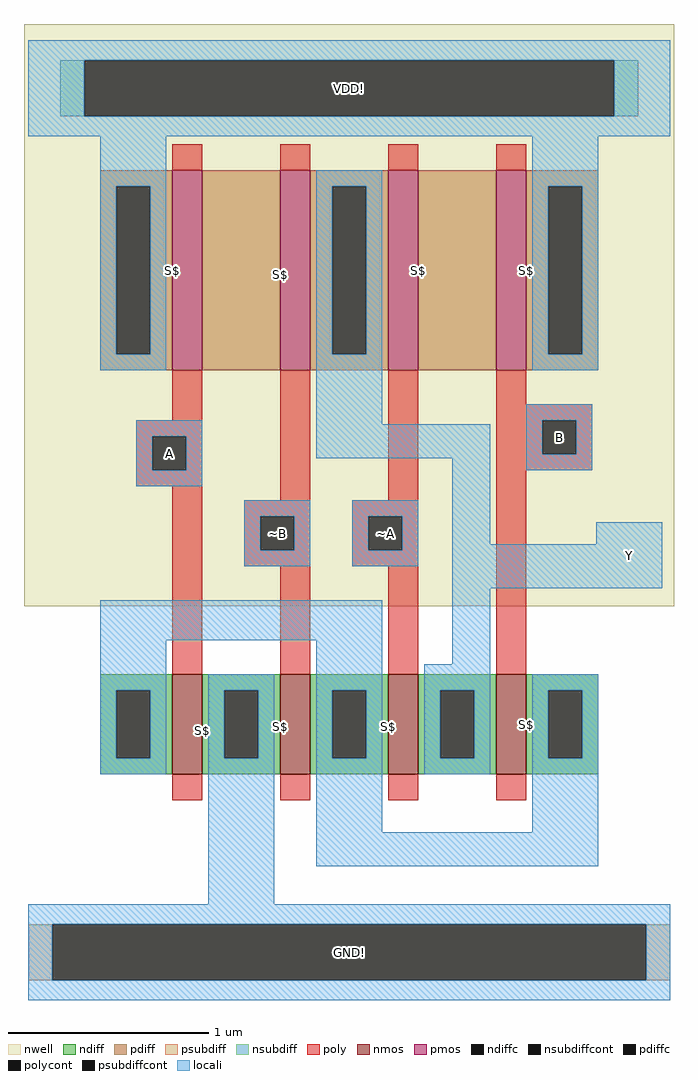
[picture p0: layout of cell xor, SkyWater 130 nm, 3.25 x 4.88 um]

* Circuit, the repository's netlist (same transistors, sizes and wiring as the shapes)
* NGSPICE file created from xor.ext - technology: sky130A

*.subckt xor VDD GND Y A ~B ~A B
X0 GND A a_72_226# GND sky130_fd_pr__nfet_01v8 ad=0.0975 pd=0.89 as=0.18 ps=1.72 w=0.5 l=0.15
X1 a_72_226# ~B GND GND sky130_fd_pr__nfet_01v8 ad=0.0975 pd=0.89 as=0.0975 ps=0.89 w=0.5 l=0.15
X2 Y ~A a_72_226# GND sky130_fd_pr__nfet_01v8 ad=0.0975 pd=0.89 as=0.0975 ps=0.89 w=0.5 l=0.15
X3 a_174_630# A VDD VDD sky130_fd_pr__pfet_01v8 ad=0.195 pd=1.39 as=0.36 ps=2.72 w=1 l=0.15
X4 Y ~B a_174_630# VDD sky130_fd_pr__pfet_01v8 ad=0.195 pd=1.39 as=0.195 ps=1.39 w=1 l=0.15
X5 a_72_226# B Y GND sky130_fd_pr__nfet_01v8 ad=0.18 pd=1.72 as=0.0975 ps=0.89 w=0.5 l=0.15
X6 a_390_630# ~A Y VDD sky130_fd_pr__pfet_01v8 ad=0.195 pd=1.39 as=0.195 ps=1.39 w=1 l=0.15
X7 VDD B a_390_630# VDD sky130_fd_pr__pfet_01v8 ad=0.36 pd=2.72 as=0.195 ps=1.39 w=1 l=0.15
*.ends

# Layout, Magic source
magic
tech sky130A
<< nwell >>
rect -2 197 323 488
<< nmos >>
rect 72 113 87 163
rect 126 113 141 163
rect 180 113 195 163
rect 234 113 249 163
<< pmos >>
rect 72 315 87 415
rect 126 315 141 415
rect 180 315 195 415
rect 234 315 249 415
<< ndiff >>
rect 36 155 72 163
rect 36 121 44 155
rect 61 121 72 155
rect 36 113 72 121
rect 87 155 126 163
rect 87 121 98 155
rect 115 121 126 155
rect 87 113 126 121
rect 141 155 180 163
rect 141 121 152 155
rect 169 121 180 155
rect 141 113 180 121
rect 195 155 234 163
rect 195 121 206 155
rect 223 121 234 155
rect 195 113 234 121
rect 249 155 285 163
rect 249 121 260 155
rect 277 121 285 155
rect 249 113 285 121
<< pdiff >>
rect 36 407 72 415
rect 36 323 44 407
rect 61 323 72 407
rect 36 315 72 323
rect 87 315 126 415
rect 141 407 180 415
rect 141 323 152 407
rect 169 323 180 407
rect 141 315 180 323
rect 195 315 234 415
rect 249 407 285 415
rect 249 323 260 407
rect 277 323 285 407
rect 249 315 285 323
<< ndiffc >>
rect 44 121 61 155
rect 98 121 115 155
rect 152 121 169 155
rect 206 121 223 155
rect 260 121 277 155
<< pdiffc >>
rect 44 323 61 407
rect 152 323 169 407
rect 260 323 277 407
<< psubdiff >>
rect 0 10 12 38
rect 309 10 321 38
<< nsubdiff >>
rect 16 442 28 470
rect 293 442 305 470
<< psubdiffcont >>
rect 12 10 309 38
<< nsubdiffcont >>
rect 28 442 293 470
<< poly >>
rect 72 415 87 428
rect 126 415 141 428
rect 180 415 195 428
rect 234 415 249 428
rect 72 290 87 315
rect 54 282 87 290
rect 54 265 62 282
rect 79 265 87 282
rect 54 257 87 265
rect 72 163 87 257
rect 126 250 141 315
rect 180 250 195 315
rect 108 242 141 250
rect 108 225 116 242
rect 133 225 141 242
rect 108 217 141 225
rect 162 242 195 250
rect 162 225 170 242
rect 187 225 195 242
rect 162 217 195 225
rect 126 163 141 217
rect 180 163 195 217
rect 234 298 249 315
rect 234 290 282 298
rect 234 273 257 290
rect 274 273 282 290
rect 234 265 282 273
rect 234 163 249 265
rect 72 100 87 113
rect 126 100 141 113
rect 180 100 195 113
rect 234 100 249 113
<< polycont >>
rect 62 265 79 282
rect 116 225 133 242
rect 170 225 187 242
rect 257 273 274 290
<< locali >>
rect 0 470 321 480
rect 0 442 28 470
rect 293 442 321 470
rect 0 432 321 442
rect 36 407 69 432
rect 36 323 44 407
rect 61 323 69 407
rect 36 315 69 323
rect 144 407 177 415
rect 144 323 152 407
rect 169 323 177 407
rect 54 282 87 290
rect 54 265 62 282
rect 79 265 87 282
rect 144 288 177 323
rect 252 407 285 432
rect 252 323 260 407
rect 277 323 285 407
rect 252 315 285 323
rect 249 290 282 298
rect 144 271 231 288
rect 54 257 87 265
rect 108 242 141 250
rect 108 225 116 242
rect 133 225 141 242
rect 108 217 141 225
rect 162 242 195 250
rect 162 225 170 242
rect 187 225 195 242
rect 162 217 195 225
rect 212 228 231 271
rect 249 273 257 290
rect 274 273 282 290
rect 249 265 282 273
rect 284 228 317 239
rect 212 206 317 228
rect 36 180 177 200
rect 36 155 69 180
rect 36 121 44 155
rect 61 121 69 155
rect 36 113 69 121
rect 90 155 123 163
rect 90 121 98 155
rect 115 121 123 155
rect 90 48 123 121
rect 144 155 177 180
rect 212 168 231 206
rect 144 121 152 155
rect 169 121 177 155
rect 144 84 177 121
rect 198 155 231 168
rect 198 121 206 155
rect 223 121 231 155
rect 198 113 231 121
rect 252 155 285 163
rect 252 121 260 155
rect 277 121 285 155
rect 252 84 285 121
rect 144 67 285 84
rect 0 38 321 48
rect 0 10 12 38
rect 309 10 321 38
rect 0 0 321 10
<< labels >>
flabel pdiff 72 365 72 365 1 FreeSerif 8 0 0 0 S$
flabel pdiff 195 365 195 365 1 FreeSerif 8 0 0 0 S$
flabel pdiff 249 365 249 365 1 FreeSerif 8 0 0 0 S$
flabel pdiff 126 363 126 363 1 FreeSerif 8 0 0 0 S$
flabel locali 54 257 87 290 0 FreeSerif 80 0 0 0 A
port 11 nsew
flabel locali 108 217 141 250 0 FreeSerif 80 0 0 0 ~B
port 12 nsew
flabel locali 162 217 195 250 0 FreeSerif 80 0 0 0 ~A
port 13 nsew
flabel locali 249 265 282 298 0 FreeSerif 80 0 0 0 B
port 14 nsew
flabel locali 284 206 317 239 0 FreeSerif 80 0 0 0 Y
port 4 nsew
flabel locali 0 0 321 48 0 FreeSerif 80 0 0 0 GND!
port 3 nsew
flabel locali 0 432 321 480 0 FreeSerif 80 0 0 0 VDD!
port 2 nsew
flabel ndiff 87 135 87 135 1 FreeSerif 8 0 0 0 S$
flabel ndiff 126 137 126 137 1 FreeSerif 8 0 0 0 S$
flabel ndiff 180 137 180 137 1 FreeSerif 8 0 0 0 S$
flabel ndiff 249 138 249 138 1 FreeSerif 8 0 0 0 S$
<< end >>
